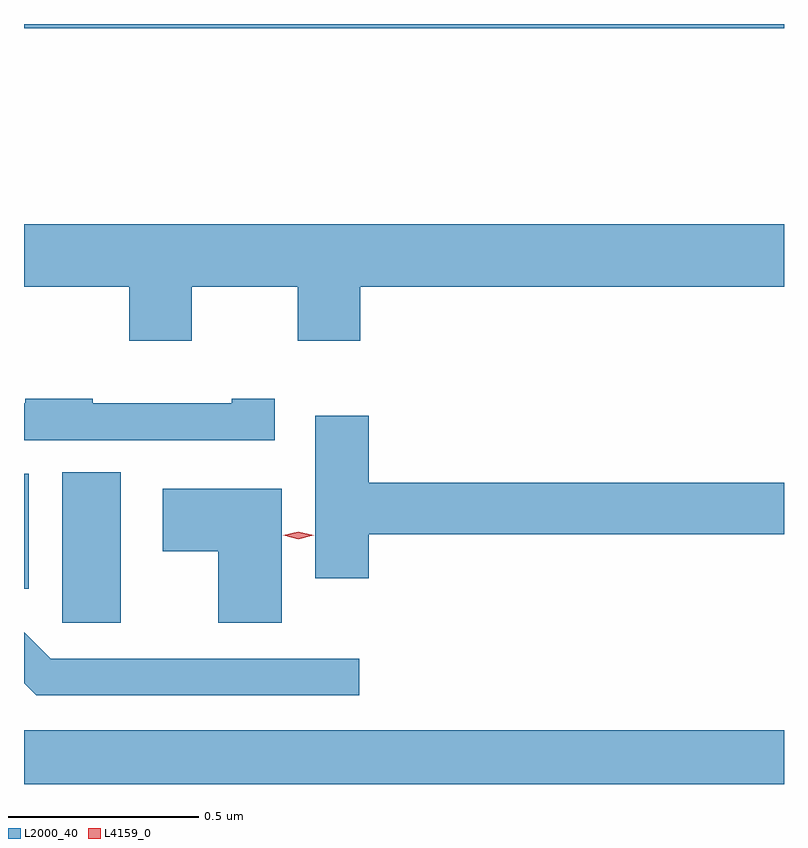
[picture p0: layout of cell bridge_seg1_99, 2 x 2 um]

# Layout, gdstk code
import gdstk
lib = gdstk.Library(unit=1e-6, precision=1e-09)
def R(c, l, rs):  # rectangles x0, y0, x1, y1
    for r in rs: c.add(gdstk.rectangle(r[:2], r[2:], *l))
def P(c, l, *ps):  # polygons
    for p in ps: c.add(gdstk.Polygon(p, *l))
L2000_40 = (2000, 40)
L4159_0 = (4159, 0)

bridge_seg1_99 = lib.new_cell('bridge_seg1_99')
R(bridge_seg1_99, L2000_40, [(362.842,539.767,364.842,539.908), (362.942,540.191,363.097,540.587), (362.842,540.281,362.854,540.583), (362.842,541.756,364.842,541.767)])
P(bridge_seg1_99, L2000_40, [(363.283,541.076),(363.563,541.076),(363.563,540.933),(363.727,540.933),(363.727,541.076),(364.842,541.076),(364.842,541.24),(362.842,541.24),(362.842,541.076),(363.119,541.076),(363.119,540.933),(363.283,540.933)],
  [(363.502,540.781),(363.389,540.781),(363.389,540.769),(363.023,540.769),(363.023,540.781),(362.845,540.781),(362.845,540.769),(362.842,540.769),(362.842,540.672),(363.502,540.672)],
  [(363.749,540.424),(364.842,540.424),(364.842,540.56),(363.749,540.56),(363.749,540.736),(363.608,540.736),(363.608,540.309),(363.749,540.309)],
  [(363.52,540.544),(363.207,540.544),(363.207,540.38),(363.353,540.38),(363.353,540.192),(363.52,540.192)],
  [(363.724,540.096),(362.913,540.096),(362.842,540.167),(362.842,540.032),(362.874,540),(363.724,540)])
P(bridge_seg1_99, L4159_0, [(363.564,540.411),(363.524,540.421),(363.524,540.421),(363.524,540.421),(363.564,540.431),(363.604,540.422),(363.604,540.422),(363.604,540.422)])

lib.write_gds('bridge_seg1_99.gds')
